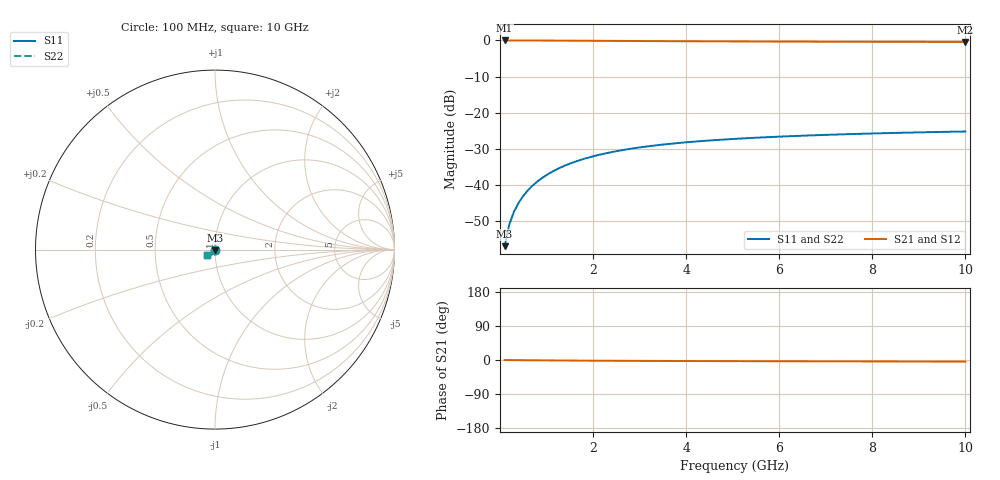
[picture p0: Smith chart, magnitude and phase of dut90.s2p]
! Touchstone file exported from HFSS 2024.1.0
!  File:  C:/UserFiles/LocalFiles/RDL_TSV_Batchsim/temp_TSV1_90_1779376026.aedt
!  Generated:  11:12:04 PM May 21, 2026
!  Design:  TSV1
!  Project:  temp_TSV1_90_1779376026
!  Setup:  Setup1
!  Solution:  Sweep
! Variables:
!  dtsv = 14.04um
!  hbump = 3um
!  htsv = 61.17um
!  lrdl = 252.1521522um
!  p = 40
!  p1 = 41.52um
!  t = 500um
!  trdl = 3um
!  wrdl = 24.89489489um
# GHz S MA R 50.000000
! Terminal data exported
! Port[1] = TSV22_T1
! Port[2] = TSV22_T2
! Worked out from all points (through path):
!   100 points, 100 MHz to 10 GHz, reference 50 ohm
!   highest |S21| = 0.00 dB at 100 MHz (marker M1); lowest = -0.4 dB at 10 GHz (marker M2)
!   lowest |S11| = -57.0 dB at 100 MHz (marker M3), VSWR 1.00, Z = 50 - j0.14 ohm
!   |S11| at or under -10 dB: start of sweep to end of sweep
!   |S22| runs from -57.0 to -25.2 dB; largest |S21 - S12| = 5.7e-15
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0.1  0.001405 -88.4  0.9999 -0.1  0.9999 -0.1  0.001405 -88.4
! Gamma 0 0 0 0
! Port Impedance 50 0 50 0
0.2  0.002806 -91.5  0.9998 -0.2  0.9998 -0.2  0.002806 -91.5
0.3  0.004206 -93.5  0.9996 -0.3  0.9996 -0.3  0.004206 -93.5
0.4  0.005598 -95.2  0.9993 -0.4  0.9993 -0.4  0.005598 -95.2
0.5  0.00698 -96.8  0.999 -0.5  0.999 -0.5  0.00698 -96.8
0.6  0.008347 -98.3  0.9986 -0.6  0.9986 -0.6  0.008347 -98.3
0.7  0.009696 -99.8  0.9982 -0.7  0.9982 -0.7  0.009696 -99.8
0.8  0.01102 -101.2  0.9977 -0.8  0.9977 -0.8  0.01102 -101.2
0.9  0.01233 -102.6  0.9971 -0.9  0.9971 -0.9  0.01233 -102.6
1.1  0.01486 -105.2  0.9959 -1.1  0.9959 -1.1  0.01486 -105.2
1.4  0.01843 -109.0  0.9938 -1.4  0.9938 -1.4  0.01843 -109.0
1.6  0.02066 -111.4  0.9922 -1.5  0.9922 -1.5  0.02066 -111.4
1.8  0.02276 -113.7  0.9906 -1.7  0.9906 -1.7  0.02276 -113.7
2.1  0.02568 -116.8  0.9882 -1.9  0.9882 -1.9  0.02568 -116.8
2.5  0.02914 -120.6  0.985 -2.1  0.985 -2.1  0.02914 -120.6
2.9  0.03216 -123.9  0.982 -2.3  0.982 -2.3  0.03216 -123.9
3.4  0.03541 -127.6  0.9784 -2.5  0.9784 -2.5  0.03541 -127.6
4.2  0.03965 -132.3  0.9734 -2.8  0.9734 -2.8  0.03965 -132.3
5.1  0.04339 -136.5  0.9687 -3.1  0.9687 -3.1  0.04339 -136.5
6.7  0.04832 -141.8  0.9621 -3.5  0.9621 -3.5  0.04832 -141.8
8.4  0.05207 -145.9  0.957 -3.9  0.957 -3.9  0.05207 -145.9
10  0.05469 -148.7  0.9535 -4.3  0.9535 -4.3  0.05469 -148.7
